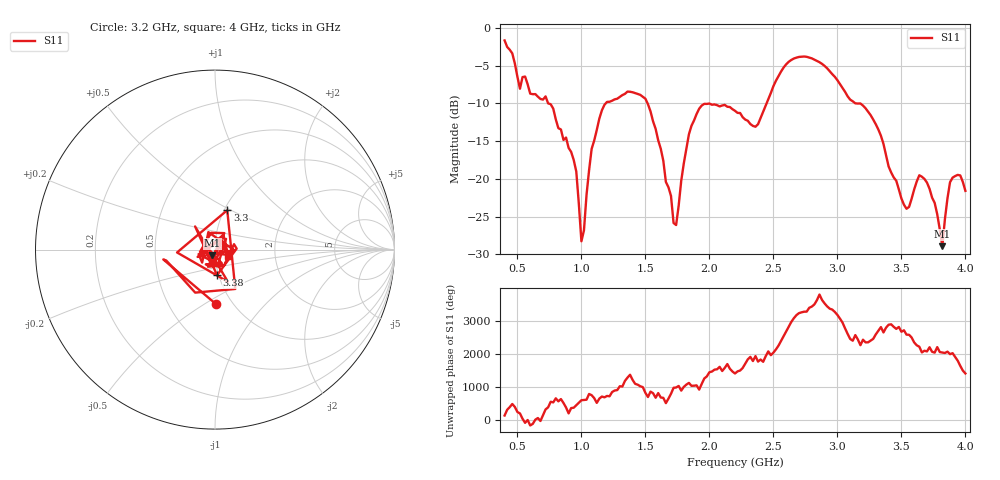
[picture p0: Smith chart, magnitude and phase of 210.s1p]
!Created with skrf (http://scikit-rf.org).
# Hz S RI R 50.0
!freq ReS11 ImS11
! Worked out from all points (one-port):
!   181 points, 400 MHz to 4 GHz, reference 50 ohm
!   lowest |S11| = -28.9 dB at 3.82 GHz (marker M1), VSWR 1.07, Z = 48.4 - j3.13 ohm
!   |S11| at or under -10 dB: 739.8 MHz to 1.19 GHz (450.5 MHz wide, 46.7 % of centre); 1.517 GHz to 2.447 GHz (929.8 MHz wide, 46.9 % of centre); 3.14 GHz to end of sweep
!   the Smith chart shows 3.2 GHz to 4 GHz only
!   S11 on the Smith chart (normalised r, x): 3.2 GHz: 0.84, -0.57; 3.3 GHz: 1.03, +0.48; 3.38 GHz: 0.98, -0.29; 4 GHz: 1.16, -0.09
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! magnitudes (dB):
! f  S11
! 400 MHz  -1.7
! 520 MHz  -8.1
! 720 MHz  -9.1
! 860 MHz  -14.9
! 960 MHz  -19.0
! 1 GHz  -28.3
! 1.08 GHz  -16.0
! 1.14 GHz  -12.0
! 1.3 GHz  -9.1
! 1.5 GHz  -9.4
! 1.62 GHz  -16.0
! 1.72 GHz  -25.9
! 1.76 GHz  -23.5
! 1.84 GHz  -14.1
! 1.92 GHz  -10.7
! 2.2 GHz  -11.0
! 2.36 GHz  -13.1
! 2.66 GHz  -4.1
! 2.88 GHz  -4.8
! 3.1 GHz  -9.5
! 3.2 GHz  -10.3
! 3.3 GHz  -12.8
! 3.38 GHz  -16.9
! 3.56 GHz  -23.7
! 3.68 GHz  -20.0
! 3.82 GHz  -28.9
! 3.88 GHz  -20.5
! 4 GHz  -21.6
